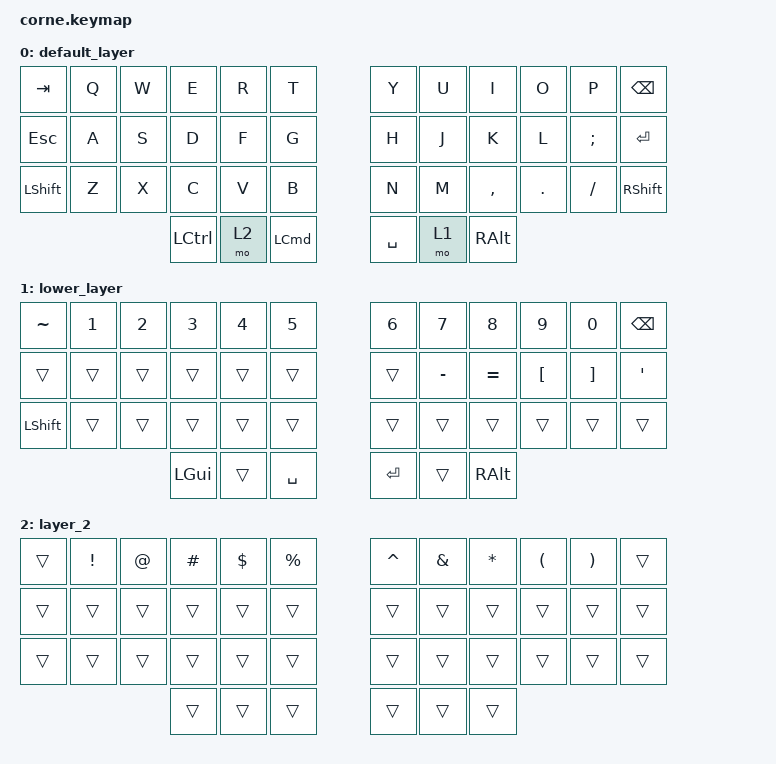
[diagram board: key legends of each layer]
/*
 * Copyright (c) 2020 The ZMK Contributors
 *
 * SPDX-License-Identifier: MIT
 */

#include <behaviors.dtsi>
#include <dt-bindings/zmk/keys.h>

/ {
    keymap {
        compatible = "zmk,keymap";

        default_layer {
            // -----------------------------------------------------------------------------------------
            // |  TAB |  Q  |  W  |  E  |  R  |  T  |   |  Y  |  U   |  I  |  O  |  P  | BKSP |
            // | CTRL |  A  |  S  |  D  |  F  |  G  |   |  H  |  J   |  K  |  L  |  ;  |  '   |
            // | SHFT |  Z  |  X  |  C  |  V  |  B  |   |  N  |  M   |  ,  |  .  |  /  | ESC  |
            //                    | GUI | LWR | SPC |   | ENT | RSE  | ALT |

            bindings = <
&kp TAB     &kp Q  &kp W  &kp E             &kp R  &kp T               &kp Y      &kp U  &kp I      &kp O    &kp P     &kp BSPC
&kp ESCAPE  &kp A  &kp S  &kp D             &kp F  &kp G               &kp H      &kp J  &kp K      &kp L    &kp SEMI  &kp ENTER
&kp LSHFT   &kp Z  &kp X  &kp C             &kp V  &kp B               &kp N      &kp M  &kp COMMA  &kp DOT  &kp FSLH  &kp RIGHT_SHIFT
                          &kp LEFT_CONTROL  &mo 2  &kp LEFT_COMMAND    &kp SPACE  &mo 1  &kp RALT
            >;
        };

        lower_layer {
            // -----------------------------------------------------------------------------------------
            // |  TAB |  1  |  2  |  3  |  4  |  5  |   |  6  |  7  |  8  |  9  |  0  | BKSP |
            // | BTCLR| BT1 | BT2 | BT3 | BT4 | BT5 |   | LFT | DWN |  UP | RGT |     |      |
            // | SHFT |     |     |     |     |     |   |     |     |     |     |     |      |
            //                    | GUI |     | SPC |   | ENT |     | ALT |

            bindings = <
&kp TILDE  &kp N1  &kp N2  &kp N3    &kp N4  &kp N5       &kp N6   &kp N7     &kp N8     &kp N9            &kp N0             &kp BSPC
&trans     &trans  &trans  &trans    &trans  &trans       &trans   &kp MINUS  &kp EQUAL  &kp LEFT_BRACKET  &kp RIGHT_BRACKET  &kp SINGLE_QUOTE
&kp LSHFT  &trans  &trans  &trans    &trans  &trans       &trans   &trans     &trans     &trans            &trans             &trans
                           &kp LGUI  &trans  &kp SPACE    &kp RET  &trans     &kp RALT
            >;
        };

        layer_2 {
            bindings = <
&trans  &kp EXCL  &kp AT  &kp POUND  &kp DOLLAR  &kp PERCENT    &kp CARET  &kp AMPS  &kp ASTRK  &kp LEFT_PARENTHESIS  &kp RIGHT_PARENTHESIS  &trans
&trans  &trans    &trans  &trans     &trans      &trans         &trans     &trans    &trans     &trans                &trans                 &trans
&trans  &trans    &trans  &trans     &trans      &trans         &trans     &trans    &trans     &trans                &trans                 &trans
                          &trans     &trans      &trans         &trans     &trans    &trans
            >;
        };
    };
};
